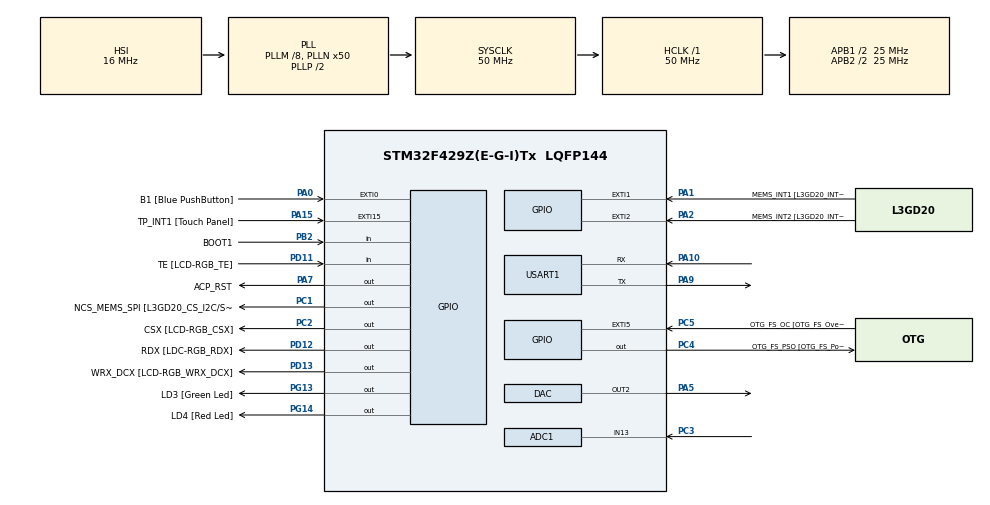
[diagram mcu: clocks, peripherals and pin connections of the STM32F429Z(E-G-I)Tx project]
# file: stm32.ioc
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ADC1.Channel-0\#ChannelRegularConversion=ADC_CHANNEL_13
ADC1.ClockPrescaler=ADC_CLOCK_SYNC_PCLK_DIV2
ADC1.ContinuousConvMode=DISABLE
ADC1.DMAContinuousRequests=DISABLE
ADC1.DataAlign=ADC_DATAALIGN_RIGHT
ADC1.DiscontinuousConvMode=DISABLE
ADC1.EOCSelection=ADC_EOC_SINGLE_CONV
ADC1.EnableAnalogWatchDog=false
ADC1.ExternalTrigConv=ADC_EXTERNALTRIGCONV_T2_CC2
ADC1.ExternalTrigConvEdge=ADC_EXTERNALTRIGCONVEDGE_RISINGFALLING
ADC1.InjNumberOfConversion=0
ADC1.NbrOfConversion=1
ADC1.NbrOfConversionFlag=1
ADC1.Rank-0\#ChannelRegularConversion=1
ADC1.Resolution=ADC_RESOLUTION_12B
ADC1.SamplingTime-0\#ChannelRegularConversion=ADC_SAMPLETIME_3CYCLES
ADC1.ScanConvMode=DISABLE
ADC1.master=1
DAC.DAC_OutputBuffer2=DAC_OUTPUTBUFFER_DISABLE
DAC.DAC_Trigger2=DAC_TRIGGER_NONE
Mcu.Family=STM32F4
Mcu.Name=STM32F429Z(E-G-I)Tx
Mcu.Package=LQFP144
NVIC.ADC_IRQn=true\:0\:0\:false\:false\:true
NVIC.PriorityGroup=NVIC_PRIORITYGROUP_0
PA0/WKUP.GPIO_Label=B1 [Blue PushButton]
PA0/WKUP.GPIO_ModeDefaultEXTI=GPIO_MODE_EVT_RISING
PA0/WKUP.GPIO_PuPd=GPIO_NOPULL
PA0/WKUP.Signal=GPXTI0
PA1.GPIO_Label=MEMS_INT1 [L3GD20_INT1]
PA1.GPIO_ModeDefaultEXTI=GPIO_MODE_EVT_RISING
PA1.GPIO_PuPd=GPIO_NOPULL
PA1.Signal=GPXTI1
PA10.Mode=Asynchronous
PA10.Signal=USART1_RX
PA11.GPIO_Label=R4
PA11.GPIO_Mode=GPIO_MODE_AF_PP
PA11.GPIO_PuPd=GPIO_NOPULL
PA11.GPIO_Speed=GPIO_SPEED_FREQ_LOW
PA11.Signal=LTDC_R4
PA12.GPIO_Label=R5
PA12.GPIO_Mode=GPIO_MODE_AF_PP
PA12.GPIO_PuPd=GPIO_NOPULL
PA12.GPIO_Speed=GPIO_SPEED_FREQ_LOW
PA12.Signal=LTDC_R5
PA13.GPIO_Label=SWDIO
PA13.Signal=SYS_JTMS-SWDIO
PA14.GPIO_Label=SWCLK
PA14.Signal=SYS_JTCK-SWCLK
PA15.GPIO_Label=TP_INT1 [Touch Panel]
PA15.GPIO_ModeDefaultEXTI=GPIO_MODE_EVT_RISING
PA15.GPIO_PuPd=GPIO_NOPULL
PA15.Signal=GPXTI15
PA2.GPIO_Label=MEMS_INT2 [L3GD20_INT2]
PA2.GPIO_ModeDefaultEXTI=GPIO_MODE_EVT_RISING
PA2.GPIO_PuPd=GPIO_NOPULL
PA2.Signal=GPXTI2
PA3.GPIO_Label=B5
PA3.GPIO_Mode=GPIO_MODE_AF_PP
PA3.GPIO_PuPd=GPIO_NOPULL
PA3.GPIO_Speed=GPIO_SPEED_FREQ_LOW
PA3.Signal=LTDC_B5
PA4.GPIO_Label=VSYNC
PA4.GPIO_Mode=GPIO_MODE_AF_PP
PA4.GPIO_PuPd=GPIO_NOPULL
PA4.GPIO_Speed=GPIO_SPEED_FREQ_LOW
PA4.Signal=LTDC_VSYNC
PA5.Signal=COMP_DAC2_group
PA6.GPIO_Label=G2
PA6.GPIO_Mode=GPIO_MODE_AF_PP
PA6.GPIO_PuPd=GPIO_NOPULL
PA6.GPIO_Speed=GPIO_SPEED_FREQ_LOW
PA6.Signal=LTDC_G2
PA7.GPIO_Label=ACP_RST
PA7.GPIO_Mode=GPIO_MODE_OUTPUT_PP
PA7.GPIO_PuPd=GPIO_NOPULL
PA7.GPIO_Speed=GPIO_SPEED_FREQ_LOW
PA7.Signal=GPIO_Output
PA8.GPIO_Label=I2C3_SCL [ACP/RF_SCL]
PA8.GPIO_Mode=GPIO_MODE_AF_OD
PA8.GPIO_PuPd=GPIO_NOPULL
PA8.GPIO_Speed=GPIO_SPEED_FREQ_LOW
PA8.Signal=I2C3_SCL
PA9.Mode=Asynchronous
PA9.Signal=USART1_TX
PB0.GPIO_Label=R3
PB0.GPIO_Mode=GPIO_MODE_AF_PP
PB0.GPIO_PuPd=GPIO_NOPULL
PB0.GPIO_Speed=GPIO_SPEED_FREQ_LOW
PB0.Signal=LTDC_R3
PB1.GPIO_Label=R6
PB1.GPIO_Mode=GPIO_MODE_AF_PP
PB1.GPIO_PuPd=GPIO_NOPULL
PB1.GPIO_Speed=GPIO_SPEED_FREQ_LOW
PB1.Signal=LTDC_R6
PB10.GPIO_Label=G4
PB10.GPIO_Mode=GPIO_MODE_AF_PP
PB10.GPIO_PuPd=GPIO_NOPULL
PB10.GPIO_Speed=GPIO_SPEED_FREQ_LOW
PB10.Signal=LTDC_G4
PB11.GPIO_Label=G5
PB11.GPIO_Mode=GPIO_MODE_AF_PP
PB11.GPIO_PuPd=GPIO_NOPULL
PB11.GPIO_Speed=GPIO_SPEED_FREQ_LOW
PB11.Signal=LTDC_G5
PB12.GPIO_Label=OTG_FS_ID
PB12.GPIO_Mode=GPIO_MODE_AF_PP
PB12.GPIO_PuPd=GPIO_NOPULL
PB12.GPIO_Speed=GPIO_SPEED_FREQ_LOW
PB12.Signal=USB_OTG_HS_ID
PB13.GPIO_Label=VBUS_FS
PB13.GPIO_Mode=GPIO_MODE_INPUT
PB13.GPIO_PuPd=GPIO_NOPULL
PB13.Signal=USB_OTG_HS_VBUS
PB14.GPIO_Label=OTG_FS_DM
PB14.GPIO_Mode=GPIO_MODE_AF_PP
PB14.GPIO_PuPd=GPIO_NOPULL
PB14.GPIO_Speed=GPIO_SPEED_FREQ_LOW
PB14.Signal=USB_OTG_HS_DM
PB15.GPIO_Label=OTG_FS_DP
PB15.GPIO_Mode=GPIO_MODE_AF_PP
PB15.GPIO_PuPd=GPIO_NOPULL
PB15.GPIO_Speed=GPIO_SPEED_FREQ_LOW
PB15.Signal=USB_OTG_HS_DP
PB2/BOOT1.GPIO_Label=BOOT1
PB2/BOOT1.GPIO_Mode=GPIO_MODE_INPUT
PB2/BOOT1.GPIO_PuPd=GPIO_NOPULL
PB2/BOOT1.Signal=GPIO_Input
PB5.GPIO_Label=SDCKE1
PB5.GPIO_Mode=GPIO_MODE_AF_PP
PB5.GPIO_PuPd=GPIO_NOPULL
PB5.GPIO_Speed=GPIO_SPEED_FREQ_VERY_HIGH
PB5.Signal=FMC_SDCKE1
PB6.GPIO_Label=SDNE1 [SDRAM_CS]
PB6.GPIO_Mode=GPIO_MODE_AF_PP
PB6.GPIO_PuPd=GPIO_NOPULL
PB6.GPIO_Speed=GPIO_SPEED_FREQ_VERY_HIGH
PB6.Signal=FMC_SDNE1
PB8.GPIO_Label=B6
PB8.GPIO_Mode=GPIO_MODE_AF_PP
PB8.GPIO_PuPd=GPIO_NOPULL
PB8.GPIO_Speed=GPIO_SPEED_FREQ_LOW
PB8.Signal=LTDC_B6
PB9.GPIO_Label=B7
PB9.GPIO_Mode=GPIO_MODE_AF_PP
PB9.GPIO_PuPd=GPIO_NOPULL
PB9.GPIO_Speed=GPIO_SPEED_FREQ_LOW
PB9.Signal=LTDC_B7
PC0.GPIO_Label=SDNWE
PC0.GPIO_Mode=GPIO_MODE_AF_PP
PC0.GPIO_PuPd=GPIO_NOPULL
PC0.GPIO_Speed=GPIO_SPEED_FREQ_VERY_HIGH
PC0.Signal=FMC_SDNWE
PC1.GPIO_Label=NCS_MEMS_SPI [L3GD20_CS_I2C/SPI]
PC1.GPIO_Mode=GPIO_MODE_OUTPUT_PP
PC1.GPIO_PuPd=GPIO_NOPULL
PC1.GPIO_Speed=GPIO_SPEED_FREQ_LOW
PC1.Signal=GPIO_Output
PC10.GPIO_Label=R2
PC10.GPIO_Mode=GPIO_MODE_AF_PP
PC10.GPIO_PuPd=GPIO_NOPULL
PC10.GPIO_Speed=GPIO_SPEED_FREQ_LOW
PC10.Signal=LTDC_R2
PC14/OSC32_IN.GPIO_Label=PC14-OSC32_IN
PC14/OSC32_IN.Signal=RCC_OSC32_IN
PC15/OSC32_OUT.GPIO_Label=PC15-OSC32_OUT
PC15/OSC32_OUT.Signal=RCC_OSC32_OUT
PC2.GPIO_Label=CSX [LCD-RGB_CSX]
PC2.GPIO_Mode=GPIO_MODE_OUTPUT_PP
PC2.GPIO_PuPd=GPIO_NOPULL
PC2.GPIO_Speed=GPIO_SPEED_FREQ_LOW
PC2.Signal=GPIO_Output
PC3.Signal=ADCx_IN13
PC4.GPIO_Label=OTG_FS_PSO [OTG_FS_PowerSwitchOn]
PC4.GPIO_Mode=GPIO_MODE_OUTPUT_PP
PC4.GPIO_PuPd=GPIO_NOPULL
PC4.GPIO_Speed=GPIO_SPEED_FREQ_LOW
PC4.Signal=GPIO_Output
PC5.GPIO_Label=OTG_FS_OC [OTG_FS_OverCurrent]
PC5.GPIO_ModeDefaultEXTI=GPIO_MODE_EVT_RISING
PC5.Signal=GPXTI5
PC6.GPIO_Label=HSYNC
PC6.GPIO_Mode=GPIO_MODE_AF_PP
PC6.GPIO_PuPd=GPIO_NOPULL
PC6.GPIO_Speed=GPIO_SPEED_FREQ_LOW
PC6.Signal=LTDC_HSYNC
PC7.GPIO_Label=G6
PC7.GPIO_Mode=GPIO_MODE_AF_PP
PC7.GPIO_PuPd=GPIO_NOPULL
PC7.GPIO_Speed=GPIO_SPEED_FREQ_LOW
PC7.Signal=LTDC_G6
PC9.GPIO_Label=I2C3_SDA [ACP/RF_SDA]
PC9.GPIO_Mode=GPIO_MODE_AF_OD
PC9.GPIO_PuPd=GPIO_NOPULL
PC9.GPIO_Speed=GPIO_SPEED_FREQ_LOW
PC9.Signal=I2C3_SDA
PD0.GPIO_Label=D2
PD0.GPIO_Mode=GPIO_MODE_AF_PP
PD0.GPIO_PuPd=GPIO_NOPULL
PD0.GPIO_Speed=GPIO_SPEED_FREQ_VERY_HIGH
PD0.Signal=FMC_D2_DA2
PD1.GPIO_Label=D3
PD1.GPIO_Mode=GPIO_MODE_AF_PP
PD1.GPIO_PuPd=GPIO_NOPULL
PD1.GPIO_Speed=GPIO_SPEED_FREQ_VERY_HIGH
PD1.Signal=FMC_D3_DA3
PD10.GPIO_Label=D15
PD10.GPIO_Mode=GPIO_MODE_AF_PP
PD10.GPIO_PuPd=GPIO_NOPULL
PD10.GPIO_Speed=GPIO_SPEED_FREQ_VERY_HIGH
PD10.Signal=FMC_D15_DA15
PD11.GPIO_Label=TE [LCD-RGB_TE]
PD11.GPIO_Mode=GPIO_MODE_INPUT
PD11.GPIO_PuPd=GPIO_NOPULL
PD11.Signal=GPIO_Input
PD12.GPIO_Label=RDX [LDC-RGB_RDX]
PD12.GPIO_Mode=GPIO_MODE_OUTPUT_PP
PD12.GPIO_PuPd=GPIO_NOPULL
PD12.GPIO_Speed=GPIO_SPEED_FREQ_LOW
PD12.Signal=GPIO_Output
PD13.GPIO_Label=WRX_DCX [LCD-RGB_WRX_DCX]
PD13.GPIO_Mode=GPIO_MODE_OUTPUT_PP
PD13.GPIO_PuPd=GPIO_NOPULL
PD13.GPIO_Speed=GPIO_SPEED_FREQ_LOW
PD13.Signal=GPIO_Output
PD14.GPIO_Label=D0
PD14.GPIO_Mode=GPIO_MODE_AF_PP
PD14.GPIO_PuPd=GPIO_NOPULL
PD14.GPIO_Speed=GPIO_SPEED_FREQ_VERY_HIGH
PD14.Signal=FMC_D0_DA0
PD15.GPIO_Label=D1
PD15.GPIO_Mode=GPIO_MODE_AF_PP
PD15.GPIO_PuPd=GPIO_NOPULL
PD15.GPIO_Speed=GPIO_SPEED_FREQ_VERY_HIGH
PD15.Signal=FMC_D1_DA1
PD3.GPIO_Label=G7
PD3.GPIO_Mode=GPIO_MODE_AF_PP
PD3.GPIO_PuPd=GPIO_NOPULL
PD3.GPIO_Speed=GPIO_SPEED_FREQ_LOW
PD3.Signal=LTDC_G7
PD6.GPIO_Label=B2
PD6.GPIO_Mode=GPIO_MODE_AF_PP
PD6.GPIO_PuPd=GPIO_NOPULL
PD6.GPIO_Speed=GPIO_SPEED_FREQ_LOW
PD6.Signal=LTDC_B2
PD8.GPIO_Label=D13
PD8.GPIO_Mode=GPIO_MODE_AF_PP
PD8.GPIO_PuPd=GPIO_NOPULL
PD8.GPIO_Speed=GPIO_SPEED_FREQ_VERY_HIGH
PD8.Signal=FMC_D13_DA13
PD9.GPIO_Label=D14
PD9.GPIO_Mode=GPIO_MODE_AF_PP
PD9.GPIO_PuPd=GPIO_NOPULL
PD9.GPIO_Speed=GPIO_SPEED_FREQ_VERY_HIGH
PD9.Signal=FMC_D14_DA14
PE0.GPIO_Label=NBL0 [SDRAM_LDQM]
PE0.GPIO_Mode=GPIO_MODE_AF_PP
PE0.GPIO_PuPd=GPIO_NOPULL
PE0.GPIO_Speed=GPIO_SPEED_FREQ_VERY_HIGH
PE0.Signal=FMC_NBL0
PE1.GPIO_Label=NBL1 [SDRAM_UDQM]
PE1.GPIO_Mode=GPIO_MODE_AF_PP
PE1.GPIO_PuPd=GPIO_NOPULL
PE1.GPIO_Speed=GPIO_SPEED_FREQ_VERY_HIGH
PE1.Signal=FMC_NBL1
PE10.GPIO_Label=D7
PE10.GPIO_Mode=GPIO_MODE_AF_PP
PE10.GPIO_PuPd=GPIO_NOPULL
PE10.GPIO_Speed=GPIO_SPEED_FREQ_VERY_HIGH
PE10.Signal=FMC_D7_DA7
PE11.GPIO_Label=D8
PE11.GPIO_Mode=GPIO_MODE_AF_PP
PE11.GPIO_PuPd=GPIO_NOPULL
PE11.GPIO_Speed=GPIO_SPEED_FREQ_VERY_HIGH
PE11.Signal=FMC_D8_DA8
PE12.GPIO_Label=D9
PE12.GPIO_Mode=GPIO_MODE_AF_PP
PE12.GPIO_PuPd=GPIO_NOPULL
PE12.GPIO_Speed=GPIO_SPEED_FREQ_VERY_HIGH
PE12.Signal=FMC_D9_DA9
PE13.GPIO_Label=D10
PE13.GPIO_Mode=GPIO_MODE_AF_PP
PE13.GPIO_PuPd=GPIO_NOPULL
PE13.GPIO_Speed=GPIO_SPEED_FREQ_VERY_HIGH
PE13.Signal=FMC_D10_DA10
PE14.GPIO_Label=D11
PE14.GPIO_Mode=GPIO_MODE_AF_PP
PE14.GPIO_PuPd=GPIO_NOPULL
PE14.GPIO_Speed=GPIO_SPEED_FREQ_VERY_HIGH
PE14.Signal=FMC_D11_DA11
PE15.GPIO_Label=D12
PE15.GPIO_Mode=GPIO_MODE_AF_PP
PE15.GPIO_PuPd=GPIO_NOPULL
PE15.GPIO_Speed=GPIO_SPEED_FREQ_VERY_HIGH
PE15.Signal=FMC_D12_DA12
PE7.GPIO_Label=D4
PE7.GPIO_Mode=GPIO_MODE_AF_PP
PE7.GPIO_PuPd=GPIO_NOPULL
PE7.GPIO_Speed=GPIO_SPEED_FREQ_VERY_HIGH
PE7.Signal=FMC_D4_DA4
PE8.GPIO_Label=D5
PE8.GPIO_Mode=GPIO_MODE_AF_PP
PE8.GPIO_PuPd=GPIO_NOPULL
PE8.GPIO_Speed=GPIO_SPEED_FREQ_VERY_HIGH
PE8.Signal=FMC_D5_DA5
PE9.GPIO_Label=D6
PE9.GPIO_Mode=GPIO_MODE_AF_PP
PE9.GPIO_PuPd=GPIO_NOPULL
PE9.GPIO_Speed=GPIO_SPEED_FREQ_VERY_HIGH
PE9.Signal=FMC_D6_DA6
PF0.GPIO_Label=A0
PF0.GPIO_Mode=GPIO_MODE_AF_PP
PF0.GPIO_PuPd=GPIO_NOPULL
PF0.GPIO_Speed=GPIO_SPEED_FREQ_VERY_HIGH
PF0.Signal=FMC_A0
PF1.GPIO_Label=A1
PF1.GPIO_Mode=GPIO_MODE_AF_PP
PF1.GPIO_PuPd=GPIO_NOPULL
PF1.GPIO_Speed=GPIO_SPEED_FREQ_VERY_HIGH
PF1.Signal=FMC_A1
PF10.GPIO_Label=ENABLE [LCD-RGB_ENABLE]
PF10.GPIO_Mode=GPIO_MODE_AF_PP
PF10.GPIO_PuPd=GPIO_NOPULL
PF10.GPIO_Speed=GPIO_SPEED_FREQ_LOW
PF10.Signal=LTDC_DE
PF11.GPIO_Label=SDNRAS
PF11.GPIO_Mode=GPIO_MODE_AF_PP
PF11.GPIO_PuPd=GPIO_NOPULL
PF11.GPIO_Speed=GPIO_SPEED_FREQ_VERY_HIGH
PF11.Signal=FMC_SDNRAS
PF12.GPIO_Label=A6
PF12.GPIO_Mode=GPIO_MODE_AF_PP
PF12.GPIO_PuPd=GPIO_NOPULL
PF12.GPIO_Speed=GPIO_SPEED_FREQ_VERY_HIGH
PF12.Signal=FMC_A6
PF13.GPIO_Label=A7
PF13.GPIO_Mode=GPIO_MODE_AF_PP
PF13.GPIO_PuPd=GPIO_NOPULL
PF13.GPIO_Speed=GPIO_SPEED_FREQ_VERY_HIGH
PF13.Signal=FMC_A7
PF14.GPIO_Label=A8
PF14.GPIO_Mode=GPIO_MODE_AF_PP
PF14.GPIO_PuPd=GPIO_NOPULL
PF14.GPIO_Speed=GPIO_SPEED_FREQ_VERY_HIGH
PF14.Signal=FMC_A8
PF15.GPIO_Label=A9
PF15.GPIO_Mode=GPIO_MODE_AF_PP
PF15.GPIO_PuPd=GPIO_NOPULL
PF15.GPIO_Speed=GPIO_SPEED_FREQ_VERY_HIGH
PF15.Signal=FMC_A9
PF2.GPIO_Label=A2
PF2.GPIO_Mode=GPIO_MODE_AF_PP
PF2.GPIO_PuPd=GPIO_NOPULL
PF2.GPIO_Speed=GPIO_SPEED_FREQ_VERY_HIGH
PF2.Signal=FMC_A2
PF3.GPIO_Label=A3
PF3.GPIO_Mode=GPIO_MODE_AF_PP
PF3.GPIO_PuPd=GPIO_NOPULL
PF3.GPIO_Speed=GPIO_SPEED_FREQ_VERY_HIGH
PF3.Signal=FMC_A3
PF4.GPIO_Label=A4
PF4.GPIO_Mode=GPIO_MODE_AF_PP
PF4.GPIO_PuPd=GPIO_NOPULL
PF4.GPIO_Speed=GPIO_SPEED_FREQ_VERY_HIGH
PF4.Signal=FMC_A4
PF5.GPIO_Label=A5
PF5.GPIO_Mode=GPIO_MODE_AF_PP
PF5.GPIO_PuPd=GPIO_NOPULL
PF5.GPIO_Speed=GPIO_SPEED_FREQ_VERY_HIGH
PF5.Signal=FMC_A5
PF7.GPIO_Label=SPI5_SCK [L3GD20_SCL/SPC]
PF7.GPIO_Mode=GPIO_MODE_AF_PP
PF7.GPIO_PuPd=GPIO_NOPULL
PF7.GPIO_Speed=GPIO_SPEED_FREQ_LOW
PF7.Signal=SPI5_SCK
PF8.GPIO_Label=SPI5_MISO [L3GD20_SDO]
PF8.GPIO_Mode=GPIO_MODE_AF_PP
PF8.GPIO_PuPd=GPIO_NOPULL
PF8.GPIO_Speed=GPIO_SPEED_FREQ_LOW
PF8.Signal=SPI5_MISO
PF9.GPIO_Label=SPI5_MOSI [L3GD20_SDA/SDI/SDO]
PF9.GPIO_Mode=GPIO_MODE_AF_PP
PF9.GPIO_PuPd=GPIO_NOPULL
PF9.GPIO_Speed=GPIO_SPEED_FREQ_LOW
PF9.Signal=SPI5_MOSI
PG0.GPIO_Label=A10
PG0.GPIO_Mode=GPIO_MODE_AF_PP
PG0.GPIO_PuPd=GPIO_NOPULL
PG0.GPIO_Speed=GPIO_SPEED_FREQ_VERY_HIGH
PG0.Signal=FMC_A10
PG1.GPIO_Label=A11
PG1.GPIO_Mode=GPIO_MODE_AF_PP
PG1.GPIO_PuPd=GPIO_NOPULL
PG1.GPIO_Speed=GPIO_SPEED_FREQ_VERY_HIGH
PG1.Signal=FMC_A11
PG10.GPIO_Label=G3
PG10.GPIO_Mode=GPIO_MODE_AF_PP
PG10.GPIO_PuPd=GPIO_NOPULL
PG10.GPIO_Speed=GPIO_SPEED_FREQ_LOW
PG10.Signal=LTDC_G3
PG11.GPIO_Label=B3
PG11.GPIO_Mode=GPIO_MODE_AF_PP
PG11.GPIO_PuPd=GPIO_NOPULL
PG11.GPIO_Speed=GPIO_SPEED_FREQ_LOW
PG11.Signal=LTDC_B3
PG12.GPIO_Label=B4
PG12.GPIO_Mode=GPIO_MODE_AF_PP
PG12.GPIO_PuPd=GPIO_NOPULL
PG12.GPIO_Speed=GPIO_SPEED_FREQ_LOW
PG12.Signal=LTDC_B4
PG13.GPIO_Label=LD3 [Green Led]
PG13.GPIO_Mode=GPIO_MODE_OUTPUT_PP
PG13.GPIO_PuPd=GPIO_NOPULL
PG13.GPIO_Speed=GPIO_SPEED_FREQ_LOW
PG13.Signal=GPIO_Output
PG14.GPIO_Label=LD4 [Red Led]
PG14.GPIO_Mode=GPIO_MODE_OUTPUT_PP
PG14.GPIO_PuPd=GPIO_NOPULL
PG14.GPIO_Speed=GPIO_SPEED_FREQ_LOW
PG14.Signal=GPIO_Output
PG15.GPIO_Label=SDNCAS
PG15.GPIO_Mode=GPIO_MODE_AF_PP
PG15.GPIO_PuPd=GPIO_NOPULL
PG15.GPIO_Speed=GPIO_SPEED_FREQ_VERY_HIGH
PG15.Signal=FMC_SDNCAS
PG4.GPIO_Label=BA0
PG4.GPIO_Mode=GPIO_MODE_AF_PP
PG4.GPIO_PuPd=GPIO_NOPULL
PG4.GPIO_Speed=GPIO_SPEED_FREQ_VERY_HIGH
PG4.Signal=FMC_A14_BA0
PG5.GPIO_Label=BA1
PG5.GPIO_Mode=GPIO_MODE_AF_PP
PG5.GPIO_PuPd=GPIO_NOPULL
PG5.GPIO_Speed=GPIO_SPEED_FREQ_VERY_HIGH
PG5.Signal=FMC_A15_BA1
PG6.GPIO_Label=R7
PG6.GPIO_Mode=GPIO_MODE_AF_PP
PG6.GPIO_PuPd=GPIO_NOPULL
PG6.GPIO_Speed=GPIO_SPEED_FREQ_LOW
PG6.Signal=LTDC_R7
PG7.GPIO_Label=DOTCLK [LCT-RGB_DOTCLK]
PG7.GPIO_Mode=GPIO_MODE_AF_PP
PG7.GPIO_PuPd=GPIO_NOPULL
PG7.GPIO_Speed=GPIO_SPEED_FREQ_LOW
PG7.Signal=LTDC_CLK
PG8.GPIO_Label=SDCLK
PG8.GPIO_Mode=GPIO_MODE_AF_PP
PG8.GPIO_PuPd=GPIO_NOPULL
PG8.GPIO_Speed=GPIO_SPEED_FREQ_VERY_HIGH
PG8.Signal=FMC_SDCLK
PH0/OSC_IN.GPIO_Label=PH0-OSC_IN
PH0/OSC_IN.Signal=RCC_OSC_IN
PH1/OSC_OUT.GPIO_Label=PH1-OSC_OUT
PH1/OSC_OUT.Signal=RCC_OSC_OUT
ProjectManager.HeapSize=0x200
ProjectManager.StackSize=0x400
ProjectManager.TargetToolchain=TrueSTUDIO
RCC.48MHZClocksFreq_Value=14285714.285714285
RCC.AHBFreq_Value=50000000
RCC.APB1CLKDivider=RCC_HCLK_DIV2
RCC.APB1Freq_Value=25000000
RCC.APB1TimFreq_Value=50000000
RCC.APB2CLKDivider=RCC_HCLK_DIV2
RCC.APB2Freq_Value=25000000
RCC.APB2TimFreq_Value=50000000
RCC.CortexFreq_Value=50000000
RCC.HCLKFreq_Value=50000000
RCC.HSE_VALUE=8000000
RCC.HSI_VALUE=16000000
RCC.LSE_VALUE=32768
RCC.PLLM=8
RCC.PLLN=50
RCC.PLLQ=7
RCC.SYSCLKFreq_VALUE=50000000
RCC.SYSCLKSource=RCC_SYSCLKSOURCE_PLLCLK
RCC.VCOOutputFreq_Value=100000000
SH.ADCx_IN13.0=ADC1_IN13,IN13
SH.COMP_DAC2_group.0=DAC_OUT2,DAC_OUT2
SH.FMC_A0.0=FMC_A0
SH.FMC_A1.0=FMC_A1
SH.FMC_A10.0=FMC_A10
SH.FMC_A11.0=FMC_A11
SH.FMC_A14_BA0.0=FMC_BA0
SH.FMC_A15_BA1.0=FMC_BA1
SH.FMC_A2.0=FMC_A2
SH.FMC_A3.0=FMC_A3
SH.FMC_A4.0=FMC_A4
SH.FMC_A5.0=FMC_A5
SH.FMC_A6.0=FMC_A6
SH.FMC_A7.0=FMC_A7
SH.FMC_A8.0=FMC_A8
SH.FMC_A9.0=FMC_A9
SH.FMC_D0_DA0.0=FMC_D0
SH.FMC_D10_DA10.0=FMC_D10
SH.FMC_D11_DA11.0=FMC_D11
SH.FMC_D12_DA12.0=FMC_D12
SH.FMC_D13_DA13.0=FMC_D13
SH.FMC_D14_DA14.0=FMC_D14
SH.FMC_D15_DA15.0=FMC_D15
SH.FMC_D1_DA1.0=FMC_D1
SH.FMC_D2_DA2.0=FMC_D2
SH.FMC_D3_DA3.0=FMC_D3
SH.FMC_D4_DA4.0=FMC_D4
SH.FMC_D5_DA5.0=FMC_D5
SH.FMC_D6_DA6.0=FMC_D6
SH.FMC_D7_DA7.0=FMC_D7
SH.FMC_D8_DA8.0=FMC_D8
SH.FMC_D9_DA9.0=FMC_D9
SH.FMC_NBL0.0=FMC_NBL0
SH.FMC_NBL1.0=FMC_NBL1
SH.FMC_SDCLK.0=FMC_SDCLK
SH.FMC_SDNCAS.0=FMC_SDNCAS
SH.FMC_SDNRAS.0=FMC_SDNRAS
SH.FMC_SDNWE.0=FMC_SDNWE
TIM2.Channel-Output\ Compare2\ No\ Output=TIM_CHANNEL_2
TIM2.CounterMode=TIM_COUNTERMODE_DOWN
TIM2.OCMode_2=TIM_OCMODE_TOGGLE
TIM2.Period=99
TIM2.Prescaler=499
TIM2.Pulse-Output\ Compare2\ No\ Output=50
TIM2.TIM_MasterOutputTrigger=TIM_TRGO_UPDATE
TIM2.TIM_MasterSlaveMode=TIM_MASTERSLAVEMODE_ENABLE
VP_TIM2_VS_ClockSourceINT.Mode=Internal
VP_TIM2_VS_no_output2.Mode=Output Compare2 No Output
board=STM32F429I-DISCO

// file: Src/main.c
/**
  ******************************************************************************
  * File Name          : main.c
  * Description        : Main program body
  ******************************************************************************
  *
  * COPYRIGHT(c) 2016 STMicroelectronics
  *
  * Redistribution and use in source and binary forms, with or without modification,
  * are permitted provided that the following conditions are met:
  *   1. Redistributions of source code must retain the above copyright notice,
  *      this list of conditions and the following disclaimer.
  *   2. Redistributions in binary form must reproduce the above copyright notice,
  *      this list of conditions and the following disclaimer in the documentation
  *      and/or other materials provided with the distribution.
  *   3. Neither the name of STMicroelectronics nor the names of its contributors
  *      may be used to endorse or promote products derived from this software
  *      without specific prior written permission.
  *
  * THIS SOFTWARE IS PROVIDED BY THE COPYRIGHT HOLDERS AND CONTRIBUTORS "AS IS"
  * AND ANY EXPRESS OR IMPLIED WARRANTIES, INCLUDING, BUT NOT LIMITED TO, THE
  * IMPLIED WARRANTIES OF MERCHANTABILITY AND FITNESS FOR A PARTICULAR PURPOSE ARE
  * DISCLAIMED. IN NO EVENT SHALL THE COPYRIGHT HOLDER OR CONTRIBUTORS BE LIABLE
  * FOR ANY DIRECT, INDIRECT, INCIDENTAL, SPECIAL, EXEMPLARY, OR CONSEQUENTIAL
  * DAMAGES (INCLUDING, BUT NOT LIMITED TO, PROCUREMENT OF SUBSTITUTE GOODS OR
  * SERVICES; LOSS OF USE, DATA, OR PROFITS; OR BUSINESS INTERRUPTION) HOWEVER
  * CAUSED AND ON ANY THEORY OF LIABILITY, WHETHER IN CONTRACT, STRICT LIABILITY,
  * OR TORT (INCLUDING NEGLIGENCE OR OTHERWISE) ARISING IN ANY WAY OUT OF THE USE
  * OF THIS SOFTWARE, EVEN IF ADVISED OF THE POSSIBILITY OF SUCH DAMAGE.
  *
  ******************************************************************************
  */
#include "stm32f4xx_hal.h"
#include "adc.h"
#include "dac.h"
#include "tim.h"
#include "usart.h"
#include "gpio.h"

/* USER CODE BEGIN Includes */
#include "chirp.h"
/* USER CODE END Includes */

/* USER CODE BEGIN PV */
/* Private variables ---------------------------------------------------------*/

/* USER CODE END PV */

void SystemClock_Config(void);
void Error_Handler(void);

/* USER CODE BEGIN PFP */
/* Private function prototypes -----------------------------------------------*/

/* USER CODE END PFP */

/* USER CODE BEGIN 0 */
volatile uint16_t adc_flag = 0;
volatile uint16_t adc_val = 0;
volatile uint16_t dac_val = 0;
volatile uint16_t t = 0;

 void HAL_ADC_ConvCpltCallback(ADC_HandleTypeDef *hadc){
	  adc_val = HAL_ADC_GetValue(&hadc1);
	  dac_val = chirp[t];
	  //DAC->DOR2 = dac_val;
	  HAL_DAC_SetValue(&hdac, DAC1_CHANNEL_2, DAC_ALIGN_12B_R, dac_val);
	  t++;
	  if(t == chirp_size)
		  t = 0;
	  adc_flag = 1;
 }

 void itoa(uint8_t* text, uint16_t num){
	 int8_t i;
	 for(i=3; i>=0; i--){
		 text[i] = num%10+'0';
	 	 num /= 10;
	 }
 }
/* USER CODE END 0 */

int main(void)
{

  /* USER CODE BEGIN 1 */
	uint8_t text[20];
  /* USER CODE END 1 */

  /* MCU Configuration----------------------------------------------------------*/

  /* Reset of all peripherals, Initializes the Flash interface and the Systick. */
  HAL_Init();

  /* Configure the system clock */
  SystemClock_Config();

  /* Initialize all configured peripherals */
  MX_GPIO_Init();
  MX_ADC1_Init();
  MX_DAC_Init();
  MX_TIM2_Init();
  MX_USART1_UART_Init();

  /* USER CODE BEGIN 2 */
  HAL_TIM_Base_Start(&htim2);
  HAL_TIM_OC_Start(&htim2, TIM_CHANNEL_2);
  HAL_ADC_Start_IT(&hadc1);
  HAL_DAC_Start(&hdac, DAC1_CHANNEL_2);
  HAL_DAC_SetValue(&hdac, DAC1_CHANNEL_2, DAC_ALIGN_12B_R, 0);

  HAL_UART_Transmit(&huart1, "START3 \r\n", 7, 100);

  /* USER CODE END 2 */

  /* Infinite loop */
  while (1)
  {

  /* USER CODE BEGIN 3 */
	  if(adc_flag == 1){
		  adc_flag = 0;
		  if(t == 1)
			  HAL_UART_Transmit(&huart1, "NEW\r\n", 5, 100);
		  sprintf(text, "%d\r\n", adc_val);
		  HAL_UART_Transmit(&huart1, text, strlen(text), 100);
	  }
  }
  /* USER CODE END 3 */

}

/** System Clock Configuration
*/
void SystemClock_Config(void)
{

  RCC_OscInitTypeDef RCC_OscInitStruct;
  RCC_ClkInitTypeDef RCC_ClkInitStruct;

  __HAL_RCC_PWR_CLK_ENABLE();

  __HAL_PWR_VOLTAGESCALING_CONFIG(PWR_REGULATOR_VOLTAGE_SCALE3);

  RCC_OscInitStruct.OscillatorType = RCC_OSCILLATORTYPE_HSI;
  RCC_OscInitStruct.HSIState = RCC_HSI_ON;
  RCC_OscInitStruct.HSICalibrationValue = 16;
  RCC_OscInitStruct.PLL.PLLState = RCC_PLL_ON;
  RCC_OscInitStruct.PLL.PLLSource = RCC_PLLSOURCE_HSI;
  RCC_OscInitStruct.PLL.PLLM = 8;
  RCC_OscInitStruct.PLL.PLLN = 50;
  RCC_OscInitStruct.PLL.PLLP = RCC_PLLP_DIV2;
  RCC_OscInitStruct.PLL.PLLQ = 7;
  if (HAL_RCC_OscConfig(&RCC_OscInitStruct) != HAL_OK)
  {
    Error_Handler();
  }

  RCC_ClkInitStruct.ClockType = RCC_CLOCKTYPE_HCLK|RCC_CLOCKTYPE_SYSCLK
                              |RCC_CLOCKTYPE_PCLK1|RCC_CLOCKTYPE_PCLK2;
  RCC_ClkInitStruct.SYSCLKSource = RCC_SYSCLKSOURCE_PLLCLK;
  RCC_ClkInitStruct.AHBCLKDivider = RCC_SYSCLK_DIV1;
  RCC_ClkInitStruct.APB1CLKDivider = RCC_HCLK_DIV2;
  RCC_ClkInitStruct.APB2CLKDivider = RCC_HCLK_DIV2;
  if (HAL_RCC_ClockConfig(&RCC_ClkInitStruct, FLASH_LATENCY_1) != HAL_OK)
  {
    Error_Handler();
  }

  HAL_SYSTICK_Config(HAL_RCC_GetHCLKFreq()/1000);

  HAL_SYSTICK_CLKSourceConfig(SYSTICK_CLKSOURCE_HCLK);

  /* SysTick_IRQn interrupt configuration */
  HAL_NVIC_SetPriority(SysTick_IRQn, 0, 0);
}

void Error_Handler(void)
{
  while(1)
  {
  }
}

/************************ (C) COPYRIGHT STMicroelectronics *****END OF FILE****/
